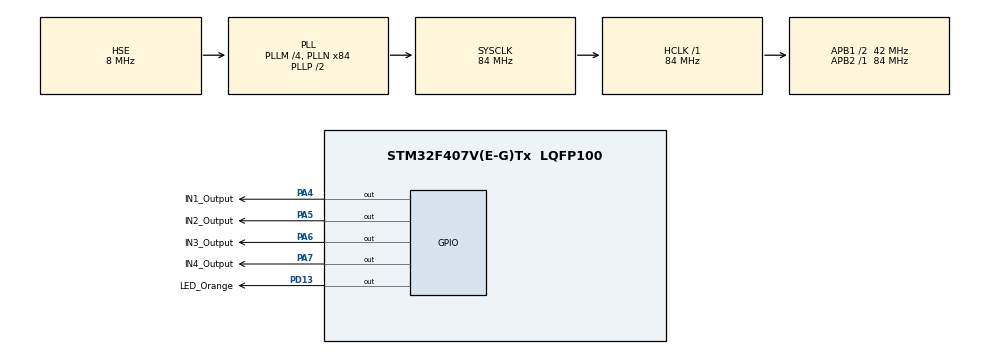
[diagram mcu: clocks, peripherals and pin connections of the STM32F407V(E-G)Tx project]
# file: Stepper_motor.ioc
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Mcu.Family=STM32F4
Mcu.Name=STM32F407V(E-G)Tx
Mcu.Package=LQFP100
NVIC.PriorityGroup=NVIC_PRIORITYGROUP_4
PA13.Mode=Trace_Asynchronous_SW
PA13.Signal=SYS_JTMS-SWDIO
PA14.Mode=Trace_Asynchronous_SW
PA14.Signal=SYS_JTCK-SWCLK
PA4.GPIO_Label=IN1_Output
PA4.Signal=GPIO_Output
PA5.GPIO_Label=IN2_Output
PA5.Signal=GPIO_Output
PA6.GPIO_Label=IN3_Output
PA6.Signal=GPIO_Output
PA7.GPIO_Label=IN4_Output
PA7.Signal=GPIO_Output
PB3.Mode=Trace_Asynchronous_SW
PB3.Signal=SYS_JTDO-SWO
PD13.GPIO_Label=LED_Orange
PD13.Signal=GPIO_Output
PH0-OSC_IN.Mode=HSE-External-Clock-Source
PH0-OSC_IN.Signal=RCC_OSC_IN
PH1-OSC_OUT.Mode=HSE-External-Clock-Source
PH1-OSC_OUT.Signal=RCC_OSC_OUT
ProjectManager.HeapSize=0x200
ProjectManager.StackSize=0x400
ProjectManager.TargetToolchain=STM32CubeIDE
RCC.48MHZClocksFreq_Value=24000000
RCC.AHBFreq_Value=84000000
RCC.APB1CLKDivider=RCC_HCLK_DIV2
RCC.APB1Freq_Value=42000000
RCC.APB1TimFreq_Value=84000000
RCC.APB2Freq_Value=84000000
RCC.APB2TimFreq_Value=84000000
RCC.CortexFreq_Value=84000000
RCC.HCLKFreq_Value=84000000
RCC.HSE_VALUE=8000000
RCC.HSI_VALUE=16000000
RCC.LSE_VALUE=32768
RCC.PLLM=4
RCC.PLLN=84
RCC.PLLQ=7
RCC.PLLSourceVirtual=RCC_PLLSOURCE_HSE
RCC.SYSCLKFreq_VALUE=84000000
RCC.SYSCLKSource=RCC_SYSCLKSOURCE_PLLCLK
RCC.VCOOutputFreq_Value=168000000
TIM6.Period=83
TIM6.Prescaler=0
VP_TIM6_VS_ClockSourceINT.Mode=Enable_Timer
board=STM32F407G-DISC1

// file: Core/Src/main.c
/* USER CODE BEGIN Header */
/**
  ******************************************************************************
  * @file           : main.c
  * @brief          : Main program body
  ******************************************************************************
  * @attention
  *
  * Copyright (c) 2023 STMicroelectronics.
  * All rights reserved.
  *
  * This software is licensed under terms that can be found in the LICENSE file
  * in the root directory of this software component.
  * If no LICENSE file comes with this software, it is provided AS-IS.
  *
  ******************************************************************************
  */
/* USER CODE END Header */
#include "main.h"

/* USER CODE BEGIN Includes */
#include "stepper_motor.h"
/* USER CODE END Includes */

/* USER CODE BEGIN PD */

#define STEPS_PER_REV				32
#define GEAR_RED					64
#define STEPS_PER_OUT_REV			(STEPS_PER_REV * GEAR_RED)

/* USER CODE END PD */

TIM_HandleTypeDef htim6;

/* USER CODE BEGIN PV */

StepMot_HandleTypeDef StepMot;

/* USER CODE END PV */

void SystemClock_Config(void);
static void MX_GPIO_Init(void);
static void MX_TIM6_Init(void);
/* USER CODE BEGIN PFP */

StepMot_HandleTypeDef StepMot_Init(void);

/* USER CODE END PFP */

int main(void)
{

  /* MCU Configuration--------------------------------------------------------*/

  /* Reset of all peripherals, Initializes the Flash interface and the Systick. */
  HAL_Init();

  /* Configure the system clock */
  SystemClock_Config();

  /* Initialize all configured peripherals */
  MX_GPIO_Init();
  MX_TIM6_Init();

  /* Infinite loop */
  /* USER CODE BEGIN WHILE */

  HAL_TIM_Base_Start(&htim6);
  StepMot = StepMot_Init();

  StepMot_Steps(StepMot, (STEPS_PER_OUT_REV / 2), 100, CLOCKWISE);

  while (1)
  {

    /* USER CODE END WHILE */

  }
}

void SystemClock_Config(void)
{
  RCC_OscInitTypeDef RCC_OscInitStruct = {0};
  RCC_ClkInitTypeDef RCC_ClkInitStruct = {0};

  /** Configure the main internal regulator output voltage
  */
  __HAL_RCC_PWR_CLK_ENABLE();
  __HAL_PWR_VOLTAGESCALING_CONFIG(PWR_REGULATOR_VOLTAGE_SCALE1);

  /** Initializes the RCC Oscillators according to the specified parameters
  * in the RCC_OscInitTypeDef structure.
  */
  RCC_OscInitStruct.OscillatorType = RCC_OSCILLATORTYPE_HSE;
  RCC_OscInitStruct.HSEState = RCC_HSE_BYPASS;
  RCC_OscInitStruct.PLL.PLLState = RCC_PLL_ON;
  RCC_OscInitStruct.PLL.PLLSource = RCC_PLLSOURCE_HSE;
  RCC_OscInitStruct.PLL.PLLM = 4;
  RCC_OscInitStruct.PLL.PLLN = 84;
  RCC_OscInitStruct.PLL.PLLP = RCC_PLLP_DIV2;
  RCC_OscInitStruct.PLL.PLLQ = 7;
  if (HAL_RCC_OscConfig(&RCC_OscInitStruct) != HAL_OK)
  {
    Error_Handler();
  }

  /** Initializes the CPU, AHB and APB buses clocks
  */
  RCC_ClkInitStruct.ClockType = RCC_CLOCKTYPE_HCLK|RCC_CLOCKTYPE_SYSCLK
                              |RCC_CLOCKTYPE_PCLK1|RCC_CLOCKTYPE_PCLK2;
  RCC_ClkInitStruct.SYSCLKSource = RCC_SYSCLKSOURCE_PLLCLK;
  RCC_ClkInitStruct.AHBCLKDivider = RCC_SYSCLK_DIV1;
  RCC_ClkInitStruct.APB1CLKDivider = RCC_HCLK_DIV2;
  RCC_ClkInitStruct.APB2CLKDivider = RCC_HCLK_DIV1;

  if (HAL_RCC_ClockConfig(&RCC_ClkInitStruct, FLASH_LATENCY_2) != HAL_OK)
  {
    Error_Handler();
  }
}

static void MX_TIM6_Init(void)
{

  TIM_MasterConfigTypeDef sMasterConfig = {0};

  htim6.Instance = TIM6;
  htim6.Init.Prescaler = 0;
  htim6.Init.CounterMode = TIM_COUNTERMODE_UP;
  htim6.Init.Period = 83;
  htim6.Init.AutoReloadPreload = TIM_AUTORELOAD_PRELOAD_DISABLE;
  if (HAL_TIM_Base_Init(&htim6) != HAL_OK)
  {
    Error_Handler();
  }
  sMasterConfig.MasterOutputTrigger = TIM_TRGO_RESET;
  sMasterConfig.MasterSlaveMode = TIM_MASTERSLAVEMODE_DISABLE;
  if (HAL_TIMEx_MasterConfigSynchronization(&htim6, &sMasterConfig) != HAL_OK)
  {
    Error_Handler();
  }

}

static void MX_GPIO_Init(void)
{
  GPIO_InitTypeDef GPIO_InitStruct = {0};

  /* GPIO Ports Clock Enable */
  __HAL_RCC_GPIOH_CLK_ENABLE();
  __HAL_RCC_GPIOA_CLK_ENABLE();
  __HAL_RCC_GPIOD_CLK_ENABLE();
  __HAL_RCC_GPIOB_CLK_ENABLE();

  /*Configure GPIO pin Output Level */
  HAL_GPIO_WritePin(GPIOA, IN1_Output_Pin|IN2_Output_Pin|IN3_Output_Pin|IN4_Output_Pin, GPIO_PIN_RESET);

  /*Configure GPIO pin Output Level */
  HAL_GPIO_WritePin(LED_Orange_GPIO_Port, LED_Orange_Pin, GPIO_PIN_RESET);

  /*Configure GPIO pins : IN1_Output_Pin IN2_Output_Pin IN3_Output_Pin IN4_Output_Pin */
  GPIO_InitStruct.Pin = IN1_Output_Pin|IN2_Output_Pin|IN3_Output_Pin|IN4_Output_Pin;
  GPIO_InitStruct.Mode = GPIO_MODE_OUTPUT_PP;
  GPIO_InitStruct.Pull = GPIO_NOPULL;
  GPIO_InitStruct.Speed = GPIO_SPEED_FREQ_LOW;
  HAL_GPIO_Init(GPIOA, &GPIO_InitStruct);

  /*Configure GPIO pin : LED_Orange_Pin */
  GPIO_InitStruct.Pin = LED_Orange_Pin;
  GPIO_InitStruct.Mode = GPIO_MODE_OUTPUT_PP;
  GPIO_InitStruct.Pull = GPIO_NOPULL;
  GPIO_InitStruct.Speed = GPIO_SPEED_FREQ_LOW;
  HAL_GPIO_Init(LED_Orange_GPIO_Port, &GPIO_InitStruct);

}

/* USER CODE BEGIN 4 */

StepMot_HandleTypeDef StepMot_Init(void){

	StepMot_HandleTypeDef StepMot;

    StepMot_PinDef gpio_pin[4] = {GPIO_PIN_4, GPIO_PIN_5, GPIO_PIN_6, GPIO_PIN_7};
    StepMot_PortDef gpio_port[4] = { GPIOA, GPIOA, GPIOA, GPIOA };

    StepMot = StepMot_create(STEPS_PER_REV, gpio_pin, gpio_port);

    return StepMot;

}

/* USER CODE END 4 */

void Error_Handler(void)
{
  __disable_irq();
  while (1)
  {
  }
}
